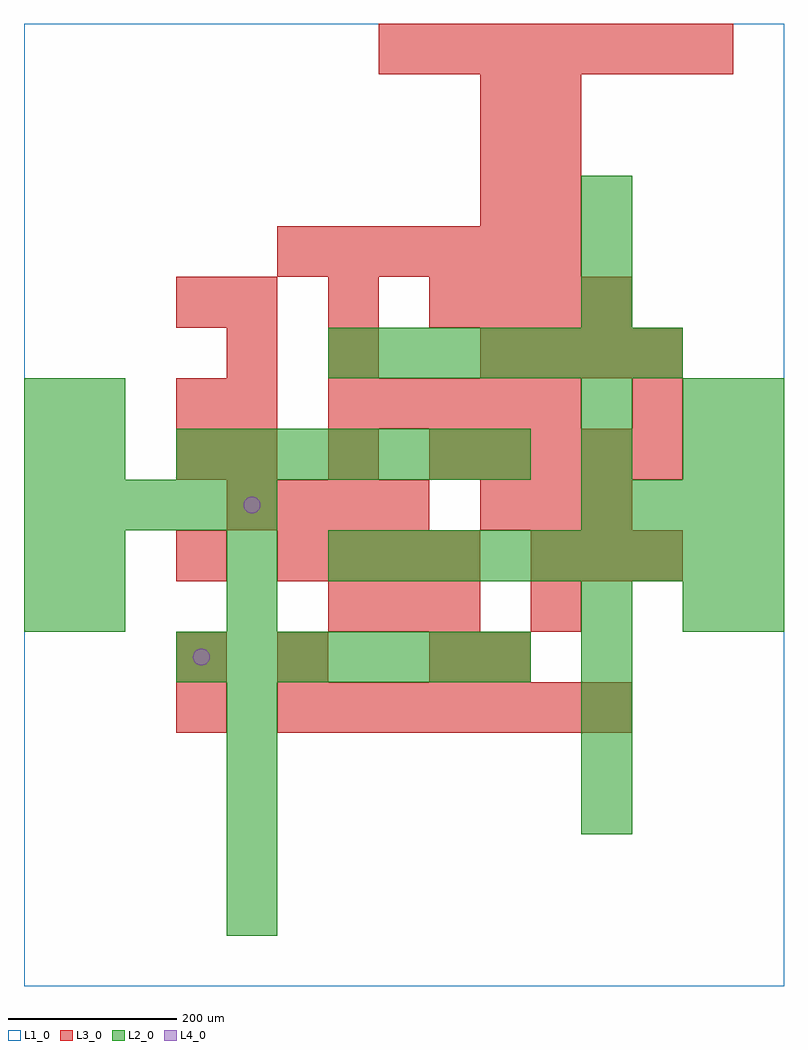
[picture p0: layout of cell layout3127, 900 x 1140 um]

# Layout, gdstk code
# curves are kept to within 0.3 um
import gdstk
lib = gdstk.Library(unit=1e-6, precision=1e-09)
def R(c, l, rs):  # rectangles x0, y0, x1, y1
    for r in rs: c.add(gdstk.rectangle(r[:2], r[2:], *l))
def A(c, l, x, y, w, h, nx, ny, dx, dy):  # array of equal rectangles
    R(c, l, [(x+i*dx, y+j*dy, x+i*dx+w, y+j*dy+h) for i in range(nx) for j in range(ny)])
def P(c, l, *ps):  # polygons
    for p in ps: c.add(gdstk.Polygon(p, *l))
L1_0 = (1, 0)
L2_0 = (2, 0)
L3_0 = (3, 0)
L4_0 = (4, 0)

layout3127 = lib.new_cell('layout3127')
R(layout3127, L1_0, [(0,0,900,1140)])
A(layout3127, L2_0, 240, 60, 60, 60, 1, 5, 0, 60)
A(layout3127, L2_0, 660, 180, 60, 60, 1, 5, 0, 60)
A(layout3127, L2_0, 180, 360, 60, 60, 7, 2, 60, 240)
A(layout3127, L2_0, 360, 480, 60, 60, 9, 1, 60, 0)
A(layout3127, L2_0, 0, 540, 60, 60, 5, 1, 60, 0)
A(layout3127, L2_0, 660, 540, 60, 60, 4, 1, 60, 0)
A(layout3127, L2_0, 360, 720, 60, 60, 7, 1, 60, 0)
A(layout3127, L2_0, 660, 780, 60, 60, 1, 3, 0, 60)
R(layout3127, L2_0, [(0,420,60,480), (60,420,120,480), (240,420,300,480), (780,420,840,480), (840,420,900,480), (0,480,60,540), (60,480,120,540), (240,480,300,540), (0,600,60,660), (60,600,120,660), (660,600,720,660), (780,600,840,660), (840,600,900,660), (0,660,60,720), (60,660,120,720), (660,660,720,720), (780,660,840,720), (840,660,900,720)])
A(layout3127, L3_0, 300, 300, 60, 60, 7, 1, 60, 0)
A(layout3127, L3_0, 180, 360, 60, 60, 1, 3, 0, 120)
A(layout3127, L3_0, 360, 420, 60, 60, 3, 1, 60, 0)
A(layout3127, L3_0, 300, 480, 60, 60, 4, 1, 60, 0)
A(layout3127, L3_0, 600, 480, 60, 60, 3, 1, 60, 0)
A(layout3127, L3_0, 240, 540, 60, 60, 4, 1, 60, 0)
A(layout3127, L3_0, 540, 540, 60, 60, 3, 2, 60, 240)
A(layout3127, L3_0, 240, 600, 60, 60, 3, 2, 120, 180)
A(layout3127, L3_0, 540, 600, 60, 60, 4, 2, 60, 120)
A(layout3127, L3_0, 360, 660, 60, 60, 5, 1, 60, 0)
A(layout3127, L3_0, 300, 840, 60, 60, 6, 1, 60, 0)
A(layout3127, L3_0, 540, 900, 60, 60, 1, 3, 0, 60)
A(layout3127, L3_0, 600, 900, 60, 60, 1, 3, 0, 60)
A(layout3127, L3_0, 420, 1080, 60, 60, 7, 1, 60, 0)
R(layout3127, L3_0, [(180,300,240,360), (300,360,360,420), (480,360,540,420), (540,360,600,420), (600,420,660,480), (180,660,240,720), (240,660,300,720), (720,660,780,720), (240,720,300,780), (360,720,420,780), (180,780,240,840)])
P(layout3127, L4_0, [(220,390),(219.239,393.827),(217.071,397.071),(213.827,399.239),(210,400),(206.173,399.239),(202.929,397.071),(200.761,393.827),(200,390),(200.761,386.173),(202.929,382.929),(206.173,380.761),(210,380),(213.827,380.761),(217.071,382.929),(219.239,386.173)],
  [(280,570),(279.239,573.827),(277.071,577.071),(273.827,579.239),(270,580),(266.173,579.239),(262.929,577.071),(260.761,573.827),(260,570),(260.761,566.173),(262.929,562.929),(266.173,560.761),(270,560),(273.827,560.761),(277.071,562.929),(279.239,566.173)])

lib.write_gds('layout3127.gds')
